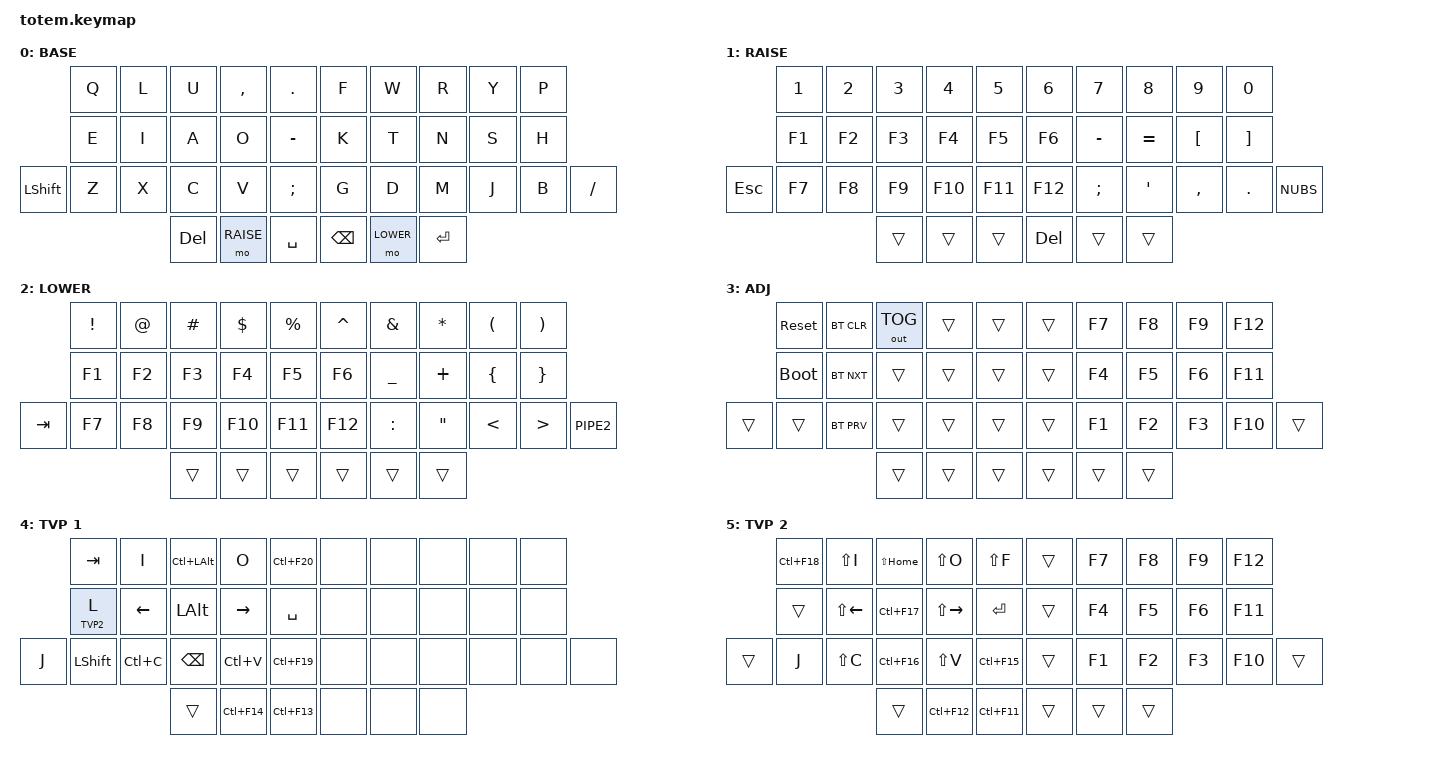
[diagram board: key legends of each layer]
//
//                                                        ▀▀▀▀▀     ▀▀▀▀▀          ▀▀█▀▀
//                                                        ▄▀▀▀▄  ▄  ▄▀▀▀▄  ▄  ▄▀▀▀▄  █  ▄▀▀▀▄
//                                                        █   █  █  █   █  █  █   █  █  █   █
//                                                         ▀▀▀   █   ▀▀▀   █   ▀▀▀   ▀   ▀▀▀
//                                                               █      ▄▄▄█▄▄▄    █   █  
//                                                               ▀      █  █  █     █▄█
//                                                             ▀▀▀▀▀    █  █  █      ▀
//                                                                      ▀  ▀  ▀
//
// ▄▄▄▄▄▄▄▄▄▄▄▄▄▄▄▄▄▄▄▄▄▄▄▄▄▄▄▄▄▄▄▄▄▄▄▄▄▄▄▄▄▄▄▄▄▄▄▄▄▄▄▄▄▄▄▄▄▄▄▄▄▄▄▄▄▄▄▄▄▄▄▄▄▄▄▄▄▄▄▄▄▄▄▄▄▄▄▄▄▄▄▄▄▄▄▄▄▄▄▄▄▄▄▄▄▄▄▄▄▄▄▄▄▄▄▄▄▄▄▄▄▄▄▄▄▄▄▄▄▄▄▄▄▄▄▄▄▄▄▄▄▄▄▄▄▄▄▄▄
       

#include <behaviors.dtsi>
#include <dt-bindings/zmk/keys.h>
#include <dt-bindings/zmk/bt.h>
#include <dt-bindings/zmk/outputs.h>

#define BASE  0
#define RAISE 1
#define LOWER 2
#define ADJ   3
#define TVP1  4
#define TVP2  5

&mt {
  quick-tap-ms = <100>;
  global-quick-tap;
  flavor = "tap-preferred";
  tapping-term-ms = <170>;
};

/ {
     combos {
            compatible = "zmk,combos";
            combo_esc {
                timeout-ms = <50>;
                key-positions = <0 1>;
                bindings = <&kp ESC>;
            };
            combo_tvp {
                timeout-ms = <100>;
                key-positions = <11 12 13>;
                bindings = <&tog TVP1>;
            };
    };

    macros {
        gif: gif {
            label = "giphy";
            compatible = "zmk,behavior-macro";
            #binding-cells = <0>;
            bindings
                = <&macro_press &kp LSHFT>
                , <&macro_tap &kp N2>
                , <&macro_release &kp LSHFT>
                , <&macro_tap &kp G &kp I &kp F>
                ;
        };
    };

        keymap {
                compatible = "zmk,keymap";
// ▄▄▄▄▄▄▄▄▄▄▄▄▄▄▄▄▄▄▄▄▄▄▄▄▄▄▄▄▄▄▄▄▄▄▄▄▄▄▄▄▄▄▄▄▄▄▄▄▄▄▄▄▄▄▄▄▄▄▄▄▄▄▄▄▄▄▄▄▄▄▄▄▄▄▄▄▄▄▄▄▄▄▄▄▄▄▄▄▄▄▄▄▄▄▄▄▄▄▄▄▄▄▄▄▄▄▄▄▄▄▄▄▄▄▄▄▄▄▄▄▄▄▄▄▄▄▄▄▄▄▄▄▄▄▄▄▄▄▄▄▄▄▄▄▄▄▄▄▄

                base_layer {
// ┏━━━━━━━━━━━━━━━━━━━━━━━━━━━━━━━━━━━━━━━┓
label= "BASE"                              ;
// ┗━━━━━━━━━━━━━━━━━━━━━━━━━━━━━━━━━━━━━━━┛
//             ┏━━━━━━━━━━━┳━━━━━━━━━━━┳━━━━━━━━━━━┳━━━━━━━━━━━┳━━━━━━━━━━━┓   ┏━━━━━━━━━━━┳━━━━━━━━━━━┳━━━━━━━━━━━┳━━━━━━━━━━━┳━━━━━━━━━━━┓
//             ┃     Q     ┃     L     ┃     U     ┃     ,     ┃     .     ┃   ┃     F     ┃     W     ┃     R     ┃     Y     ┃     P     ┃
//             ┣━━━━━━━━━━━╋━━━━━━━━━━━╋━━━━━━━━━━━╋━━━━━━━━━━━╋━━━━━━━━━━━┫   ┣━━━━━━━━━━━╋━━━━━━━━━━━╋━━━━━━━━━━━╋━━━━━━━━━━━╋━━━━━━━━━━━┫
//             ┃     E     ┃     I     ┃     A     ┃     O     ┃     -     ┃   ┃     K     ┃     T     ┃     N     ┃     S     ┃     H     ┃
// ┏━━━━━━━━━━━╋━━━━━━━━━━━╋━━━━━━━━━━━╋━━━━━━━━━━━╋━━━━━━━━━━━╋━━━━━━━━━━━┫   ┣━━━━━━━━━━━╋━━━━━━━━━━━╋━━━━━━━━━━━╋━━━━━━━━━━━╋━━━━━━━━━━━╋━━━━━━━━━━━┓
// ┃   SHIFT   ┃     Z     ┃     X     ┃     C     ┃     V     ┃     ;     ┃   ┃     G     ┃     D     ┃     M     ┃     J     ┃     B     ┃     /     ┃
// ┗━━━━━━━━━━━┻━━━━━━━━━━━┻━━━━━━━━━━━╋━━━━━━━━━━━╋━━━━━━━━━━━╋━━━━━━━━━━━┫   ┣━━━━━━━━━━━╋━━━━━━━━━━━╋━━━━━━━━━━━╋━━━━━━━━━━━┻━━━━━━━━━━━┻━━━━━━━━━━━┛
//                                     ┃    E/J    ┃   RAISE   ┃    SPC    ┃   ┃   BSPC    ┃   LOWER   ┃   ENTER   ┃
//                                     ┗━━━━━━━━━━━┻━━━━━━━━━━━┻━━━━━━━━━━━┛   ┗━━━━━━━━━━━┻━━━━━━━━━━━┻━━━━━━━━━━━┛
 bindings = <
// ╷           ╷           ╷           ╷           ╷           ╷           ╷   ╷           ╷           ╷           ╷           ╷           ╷           ╷

                &kp Q       &kp L       &kp U       &kp COMMA   &kp DOT         &kp F       &kp W       &kp R       &kp Y       &kp P
                &kp E       &kp I       &kp A       &kp O       &kp MINUS       &kp K       &kp T       &kp N       &kp S       &kp H
    &kp LSHFT   &kp Z       &kp X       &kp C       &kp V       &kp SEMI        &kp G       &kp D       &kp M       &kp J       &kp B       &kp FSLH
                                        &kp DEL     &mo RAISE   &kp SPACE       &kp BSPC    &mo LOWER   &kp ENTER
                        >;
                };

// ▄▄▄▄▄▄▄▄▄▄▄▄▄▄▄▄▄▄▄▄▄▄▄▄▄▄▄▄▄▄▄▄▄▄▄▄▄▄▄▄▄▄▄▄▄▄▄▄▄▄▄▄▄▄▄▄▄▄▄▄▄▄▄▄▄▄▄▄▄▄▄▄▄▄▄▄▄▄▄▄▄▄▄▄▄▄▄▄▄▄▄▄▄▄▄▄▄▄▄▄▄▄▄▄▄▄▄▄▄▄▄▄▄▄▄▄▄▄▄▄▄▄▄▄▄▄▄▄▄▄▄▄▄▄▄▄▄▄▄▄▄▄▄▄▄▄▄▄▄


                raise_layer {
// ┏━━━━━━━━━━━━━━━━━━━━━━━━━━━━━━━━━━━━━━━┓
label= "RAISE"                             ;
// ┗━━━━━━━━━━━━━━━━━━━━━━━━━━━━━━━━━━━━━━━┛
//             ┏━━━━━━━━━━━┳━━━━━━━━━━━┳━━━━━━━━━━━┳━━━━━━━━━━━┳━━━━━━━━━━━┓   ┏━━━━━━━━━━━┳━━━━━━━━━━━┳━━━━━━━━━━━┳━━━━━━━━━━━┳━━━━━━━━━━━┓
//             ┃     1     ┃     2     ┃     3     ┃     4     ┃     5     ┃   ┃     6     ┃     7     ┃     8     ┃     9     ┃     0     ┃
//             ┣━━━━━━━━━━━╋━━━━━━━━━━━╋━━━━━━━━━━━╋━━━━━━━━━━━╋━━━━━━━━━━━┫   ┣━━━━━━━━━━━╋━━━━━━━━━━━╋━━━━━━━━━━━╋━━━━━━━━━━━╋━━━━━━━━━━━┫
//             ┃     F1    ┃     F2    ┃     F3    ┃     F4    ┃     F5    ┃   ┃     F6    ┃     -     ┃     =     ┃     [     ┃     ]     ┃
// ┏━━━━━━━━━━━╋━━━━━━━━━━━╋━━━━━━━━━━━╋━━━━━━━━━━━╋━━━━━━━━━━━╋━━━━━━━━━━━┫   ┣━━━━━━━━━━━╋━━━━━━━━━━━╋━━━━━━━━━━━╋━━━━━━━━━━━╋━━━━━━━━━━━╋━━━━━━━━━━━┓
// ┃    ESC    ┃     F7    ┃     F8    ┃     F9    ┃    F10    ┃    F11    ┃   ┃    F12    ┃     ;     ┃     '     ┃     ,     ┃     .     ┃     \     ┃
// ┗━━━━━━━━━━━┻━━━━━━━━━━━┻━━━━━━━━━━━╋━━━━━━━━━━━╋━━━━━━━━━━━╋━━━━━━━━━━━┫   ┣━━━━━━━━━━━╋━━━━━━━━━━━╋━━━━━━━━━━━╋━━━━━━━━━━━┻━━━━━━━━━━━┻━━━━━━━━━━━┛
//                                     ┃           ┃           ┃           ┃   ┃    DEL    ┃           ┃           ┃
//                                     ┗━━━━━━━━━━━┻━━━━━━━━━━━┻━━━━━━━━━━━┛   ┗━━━━━━━━━━━┻━━━━━━━━━━━┻━━━━━━━━━━━┛
 bindings = <
// ╷           ╷           ╷           ╷           ╷           ╷           ╷   ╷           ╷           ╷           ╷           ╷           ╷           ╷

                &kp N1      &kp N2      &kp N3      &kp N4      &kp N5          &kp N6      &kp N7      &kp N8      &kp N9      &kp N0
                &kp F1      &kp F2      &kp F3      &kp F4      &kp F5          &kp F6      &kp MINUS   &kp EQUAL   &kp LBKT    &kp RBKT
    &kp ESC     &kp F7      &kp F8      &kp F9      &kp F10     &kp F11         &kp F12     &kp SEMI    &kp SQT     &kp COMMA   &kp DOT     &kp NUBS
                                        &trans      &trans      &trans          &kp DEL     &trans      &trans
                        >;
                };

// ▄▄▄▄▄▄▄▄▄▄▄▄▄▄▄▄▄▄▄▄▄▄▄▄▄▄▄▄▄▄▄▄▄▄▄▄▄▄▄▄▄▄▄▄▄▄▄▄▄▄▄▄▄▄▄▄▄▄▄▄▄▄▄▄▄▄▄▄▄▄▄▄▄▄▄▄▄▄▄▄▄▄▄▄▄▄▄▄▄▄▄▄▄▄▄▄▄▄▄▄▄▄▄▄▄▄▄▄▄▄▄▄▄▄▄▄▄▄▄▄▄▄▄▄▄▄▄▄▄▄▄▄▄▄▄▄▄▄▄▄▄▄▄▄▄▄▄▄▄


                lower_layer {
// ┏━━━━━━━━━━━━━━━━━━━━━━━━━━━━━━━━━━━━━━━┓
label= "LOWER"                             ;
// ┗━━━━━━━━━━━━━━━━━━━━━━━━━━━━━━━━━━━━━━━┛
//             ┏━━━━━━━━━━━┳━━━━━━━━━━━┳━━━━━━━━━━━┳━━━━━━━━━━━┳━━━━━━━━━━━┓   ┏━━━━━━━━━━━┳━━━━━━━━━━━┳━━━━━━━━━━━┳━━━━━━━━━━━┳━━━━━━━━━━━┓
//             ┃     !     ┃     @     ┃     #     ┃     $     ┃     %     ┃   ┃     ˆ     ┃     &     ┃     *     ┃     (     ┃     )     ┃
//             ┣━━━━━━━━━━━╋━━━━━━━━━━━╋━━━━━━━━━━━╋━━━━━━━━━━━╋━━━━━━━━━━━┫   ┣━━━━━━━━━━━╋━━━━━━━━━━━╋━━━━━━━━━━━╋━━━━━━━━━━━╋━━━━━━━━━━━┫
//             ┃     F1    ┃     F2    ┃     F3    ┃     F4    ┃     F5    ┃   ┃     F6    ┃     _     ┃     +     ┃     {     ┃     }     ┃
// ┏━━━━━━━━━━━╋━━━━━━━━━━━╋━━━━━━━━━━━╋━━━━━━━━━━━╋━━━━━━━━━━━╋━━━━━━━━━━━┫   ┣━━━━━━━━━━━╋━━━━━━━━━━━╋━━━━━━━━━━━╋━━━━━━━━━━━╋━━━━━━━━━━━╋━━━━━━━━━━━┓
// ┃    TAB    ┃     F7    ┃     F8    ┃     F9    ┃    F10    ┃    F11    ┃   ┃    F12    ┃     :     ┃     "     ┃     <     ┃     >     ┃     |     ┃
// ┗━━━━━━━━━━━┻━━━━━━━━━━━┻━━━━━━━━━━━╋━━━━━━━━━━━╋━━━━━━━━━━━╋━━━━━━━━━━━┫   ┣━━━━━━━━━━━╋━━━━━━━━━━━╋━━━━━━━━━━━╋━━━━━━━━━━━┻━━━━━━━━━━━┻━━━━━━━━━━━┛
//                                     ┃           ┃           ┃           ┃   ┃           ┃           ┃           ┃
//                                     ┗━━━━━━━━━━━┻━━━━━━━━━━━┻━━━━━━━━━━━┛   ┗━━━━━━━━━━━┻━━━━━━━━━━━┻━━━━━━━━━━━┛
 bindings = <
// ╷           ╷           ╷           ╷           ╷           ╷           ╷   ╷           ╷           ╷           ╷           ╷           ╷           ╷

                &kp EXCL    &kp AT      &kp HASH    &kp DLLR    &kp PRCNT       &kp CARET   &kp AMPS    &kp ASTRK   &kp LPAR    &kp RPAR
                &kp F1      &kp F2      &kp F3      &kp F4      &kp F5          &kp F6      &kp UNDER   &kp PLUS    &kp LBRC    &kp RBRC
    &kp TAB     &kp F7      &kp F8      &kp F9      &kp F10     &kp F11         &kp F12     &kp COLON   &kp DQT     &kp LT      &kp GT      &kp PIPE2
                                        &trans      &trans      &trans          &trans      &trans      &trans
                        >;
                };

// ▄▄▄▄▄▄▄▄▄▄▄▄▄▄▄▄▄▄▄▄▄▄▄▄▄▄▄▄▄▄▄▄▄▄▄▄▄▄▄▄▄▄▄▄▄▄▄▄▄▄▄▄▄▄▄▄▄▄▄▄▄▄▄▄▄▄▄▄▄▄▄▄▄▄▄▄▄▄▄▄▄▄▄▄▄▄▄▄▄▄▄▄▄▄▄▄▄▄▄▄▄▄▄▄▄▄▄▄▄▄▄▄▄▄▄▄▄▄▄▄▄▄▄▄▄▄▄▄▄▄▄▄▄▄▄▄▄▄▄▄▄▄▄▄▄▄▄▄▄


                adjust_layer {
// ┏━━━━━━━━━━━━━━━━━━━━━━━━━━━━━━━━━━━━━━━┓
label= "ADJ"                               ;
// ┗━━━━━━━━━━━━━━━━━━━━━━━━━━━━━━━━━━━━━━━┛
//             ┏━━━━━━━━━━━┳━━━━━━━━━━━┳━━━━━━━━━━━┳━━━━━━━━━━━┳━━━━━━━━━━━┓   ┏━━━━━━━━━━━┳━━━━━━━━━━━┳━━━━━━━━━━━┳━━━━━━━━━━━┳━━━━━━━━━━━┓
//             ┃   RESET   ┃ BT CLEAR  ┃  OUT TOG  ┃           ┃           ┃   ┃           ┃    F7     ┃    F8     ┃    F9     ┃    F12    ┃
//             ┣━━━━━━━━━━━╋━━━━━━━━━━━╋━━━━━━━━━━━╋━━━━━━━━━━━╋━━━━━━━━━━━┫   ┣━━━━━━━━━━━╋━━━━━━━━━━━╋━━━━━━━━━━━╋━━━━━━━━━━━╋━━━━━━━━━━━┫
//             ┃ BOOTLOAD  ┃ BT NEXT   ┃           ┃           ┃           ┃   ┃           ┃    F4     ┃    F5     ┃    F6     ┃    F11    ┃
// ┏━━━━━━━━━━━╋━━━━━━━━━━━╋━━━━━━━━━━━╋━━━━━━━━━━━╋━━━━━━━━━━━╋━━━━━━━━━━━┫   ┣━━━━━━━━━━━╋━━━━━━━━━━━╋━━━━━━━━━━━╋━━━━━━━━━━━╋━━━━━━━━━━━╋━━━━━━━━━━━┓
// ┃           ┃           ┃ BT PREV   ┃           ┃           ┃           ┃   ┃           ┃    F1     ┃    F2     ┃    F3     ┃    F10    ┃           ┃
// ┗━━━━━━━━━━━┻━━━━━━━━━━━┻━━━━━━━━━━━╋━━━━━━━━━━━╋━━━━━━━━━━━╋━━━━━━━━━━━┫   ┣━━━━━━━━━━━╋━━━━━━━━━━━╋━━━━━━━━━━━╋━━━━━━━━━━━┻━━━━━━━━━━━┻━━━━━━━━━━━┛
//                                     ┃           ┃           ┃           ┃   ┃           ┃           ┃           ┃
//                                     ┗━━━━━━━━━━━┻━━━━━━━━━━━┻━━━━━━━━━━━┛   ┗━━━━━━━━━━━┻━━━━━━━━━━━┻━━━━━━━━━━━┛
 bindings = <
// ╷           ╷           ╷           ╷           ╷           ╷           ╷   ╷           ╷           ╷           ╷           ╷           ╷           ╷

                &sys_reset  &bt BT_CLR &out OUT_TOG &trans      &trans          &trans      &kp F7      &kp F8      &kp F9      &kp F12
                &bootloader &bt BT_NXT  &trans      &trans      &trans          &trans      &kp F4      &kp F5      &kp F6      &kp F11  
    &trans      &trans      &bt BT_PRV  &trans      &trans      &trans          &trans      &kp F1      &kp F2      &kp F3      &kp F10     &trans         
                                        &trans      &trans      &trans          &trans      &trans      &trans      
                        >;
                };

// ▄▄▄▄▄▄▄▄▄▄▄▄▄▄▄▄▄▄▄▄▄▄▄▄▄▄▄▄▄▄▄▄▄▄▄▄▄▄▄▄▄▄▄▄▄▄▄▄▄▄▄▄▄▄▄▄▄▄▄▄▄▄▄▄▄▄▄▄▄▄▄▄▄▄▄▄▄▄▄▄▄▄▄▄▄▄▄▄▄▄▄▄▄▄▄▄▄▄▄▄▄▄▄▄▄▄▄▄▄▄▄▄▄▄▄▄▄▄▄▄▄▄▄▄▄▄▄▄▄▄▄▄▄▄▄▄▄▄▄▄▄▄▄▄▄▄▄▄▄


                tvp1_layer {
// ┏━━━━━━━━━━━━━━━━━━━━━━━━━━━━━━━━━━━━━━━┓
label= "TVP 1"                             ;
// ┗━━━━━━━━━━━━━━━━━━━━━━━━━━━━━━━━━━━━━━━┛
//             ┏━━━━━━━━━━━┳━━━━━━━━━━━┳━━━━━━━━━━━┳━━━━━━━━━━━┳━━━━━━━━━━━┓   ┏━━━━━━━━━━━┳━━━━━━━━━━━┳━━━━━━━━━━━┳━━━━━━━━━━━┳━━━━━━━━━━━┓
//             ┃ NEXT FILE ┃ MARK IN   ┃ ROTATE    ┃ MARK OUT  ┃ SHOW SNAP ┃   ┃           ┃           ┃           ┃           ┃           ┃
//             ┣━━━━━━━━━━━╋━━━━━━━━━━━╋━━━━━━━━━━━╋━━━━━━━━━━━╋━━━━━━━━━━━┫   ┣━━━━━━━━━━━╋━━━━━━━━━━━╋━━━━━━━━━━━╋━━━━━━━━━━━╋━━━━━━━━━━━┫
//             ┃ TVP II    ┃ LEFT      ┃ PAN       ┃ RIGHT     ┃ PLAY/FLIP ┃   ┃           ┃           ┃           ┃           ┃           ┃
// ┏━━━━━━━━━━━╋━━━━━━━━━━━╋━━━━━━━━━━━╋━━━━━━━━━━━╋━━━━━━━━━━━╋━━━━━━━━━━━┫   ┣━━━━━━━━━━━╋━━━━━━━━━━━╋━━━━━━━━━━━╋━━━━━━━━━━━╋━━━━━━━━━━━╋━━━━━━━━━━━┓
// ┃ FULLSCR   ┃ SHIFT     ┃ COPY      ┃ DELETE    ┃ PASTE     ┃ IMG MARK  ┃   ┃           ┃           ┃           ┃           ┃           ┃           ┃
// ┗━━━━━━━━━━━┻━━━━━━━━━━━┻━━━━━━━━━━━╋━━━━━━━━━━━╋━━━━━━━━━━━╋━━━━━━━━━━━┫   ┣━━━━━━━━━━━╋━━━━━━━━━━━╋━━━━━━━━━━━╋━━━━━━━━━━━┻━━━━━━━━━━━┻━━━━━━━━━━━┛
//                                     ┃           ┃ UNDO/SAVE ┃  SEL/MOV  ┃   ┃           ┃           ┃           ┃
//                                     ┗━━━━━━━━━━━┻━━━━━━━━━━━┻━━━━━━━━━━━┛   ┗━━━━━━━━━━━┻━━━━━━━━━━━┻━━━━━━━━━━━┛
 bindings = <
// ╷           ╷           ╷           ╷           ╷           ╷           ╷   ╷           ╷           ╷           ╷           ╷           ╷           ╷

                &kp TAB     &kp I       &kp LC(LALT) &kp O      &kp LC(F20)     &none       &none       &none       &none       &none
                &lt TVP2 L  &kp LEFT    &kp LALT    &kp RIGHT   &kp SPACE       &none       &none       &none       &none       &none
    &kp J       &kp LSHFT   &kp LC(C)   &kp BSPC    &kp LC(V)   &kp LC(F19)     &none       &none       &none       &none       &none       &none        
                                        &trans      &kp LC(F14) &kp LC(F13)     &none       &none       &none    
                        >;
                };

// ▄▄▄▄▄▄▄▄▄▄▄▄▄▄▄▄▄▄▄▄▄▄▄▄▄▄▄▄▄▄▄▄▄▄▄▄▄▄▄▄▄▄▄▄▄▄▄▄▄▄▄▄▄▄▄▄▄▄▄▄▄▄▄▄▄▄▄▄▄▄▄▄▄▄▄▄▄▄▄▄▄▄▄▄▄▄▄▄▄▄▄▄▄▄▄▄▄▄▄▄▄▄▄▄▄▄▄▄▄▄▄▄▄▄▄▄▄▄▄▄▄▄▄▄▄▄▄▄▄▄▄▄▄▄▄▄▄▄▄▄▄▄▄▄▄▄▄▄▄


                tvp2_layer {
// ┏━━━━━━━━━━━━━━━━━━━━━━━━━━━━━━━━━━━━━━━┓
label= "TVP 2"                             ;
// ┗━━━━━━━━━━━━━━━━━━━━━━━━━━━━━━━━━━━━━━━┛
//             ┏━━━━━━━━━━━┳━━━━━━━━━━━┳━━━━━━━━━━━┳━━━━━━━━━━━┳━━━━━━━━━━━┓   ┏━━━━━━━━━━━┳━━━━━━━━━━━┳━━━━━━━━━━━┳━━━━━━━━━━━┳━━━━━━━━━━━┓
//             ┃ SOLO      ┃ TOGGLE IN ┃ RESET ROT ┃ TOGGLE OUT┃ TAKE SNAP ┃   ┃           ┃           ┃           ┃           ┃           ┃
//             ┣━━━━━━━━━━━╋━━━━━━━━━━━╋━━━━━━━━━━━╋━━━━━━━━━━━╋━━━━━━━━━━━┫   ┣━━━━━━━━━━━╋━━━━━━━━━━━╋━━━━━━━━━━━╋━━━━━━━━━━━╋━━━━━━━━━━━┫
//             ┃ ---       ┃ LAST KEY  ┃ NEW KEY   ┃ NEXT KEY  ┃ ENTER     ┃   ┃           ┃           ┃           ┃           ┃           ┃
// ┏━━━━━━━━━━━╋━━━━━━━━━━━╋━━━━━━━━━━━╋━━━━━━━━━━━╋━━━━━━━━━━━╋━━━━━━━━━━━┫   ┣━━━━━━━━━━━╋━━━━━━━━━━━╋━━━━━━━━━━━╋━━━━━━━━━━━╋━━━━━━━━━━━╋━━━━━━━━━━━┓
// ┃           ┃ FULLSCR   ┃ CPY2BRUSH ┃ DEL HEAD  ┃ PSTinPLACE┃ BOOK MARK ┃   ┃           ┃           ┃           ┃           ┃           ┃           ┃
// ┗━━━━━━━━━━━┻━━━━━━━━━━━┻━━━━━━━━━━━╋━━━━━━━━━━━╋━━━━━━━━━━━╋━━━━━━━━━━━┫   ┣━━━━━━━━━━━╋━━━━━━━━━━━╋━━━━━━━━━━━╋━━━━━━━━━━━┻━━━━━━━━━━━┻━━━━━━━━━━━┛
//                                     ┃           ┃ REDO/SAV1 ┃TRANS/WARP ┃   ┃           ┃           ┃           ┃
//                                     ┗━━━━━━━━━━━┻━━━━━━━━━━━┻━━━━━━━━━━━┛   ┗━━━━━━━━━━━┻━━━━━━━━━━━┻━━━━━━━━━━━┛
 bindings = <
// ╷           ╷           ╷           ╷           ╷           ╷           ╷   ╷           ╷           ╷           ╷           ╷           ╷           ╷

                &kp LC(F18) &kp LS(I)  &kp LS(HOME) &kp LS(O)   &kp LS(F)       &trans      &kp F7      &kp F8      &kp F9      &kp F12
                &trans      &kp LS(LEFT) &kp LC(F17) &kp LS(RIGHT) &kp RET      &trans      &kp F4      &kp F5      &kp F6      &kp F11  
    &trans      &kp J       &kp LS(C)   &kp LC(F16) &kp LS(V)   &kp LC(F15)     &trans      &kp F1      &kp F2      &kp F3      &kp F10     &trans         
                                        &trans      &kp LC(F12) &kp LC(F11)     &trans      &trans      &trans      
                        >;
                };
        };
};
